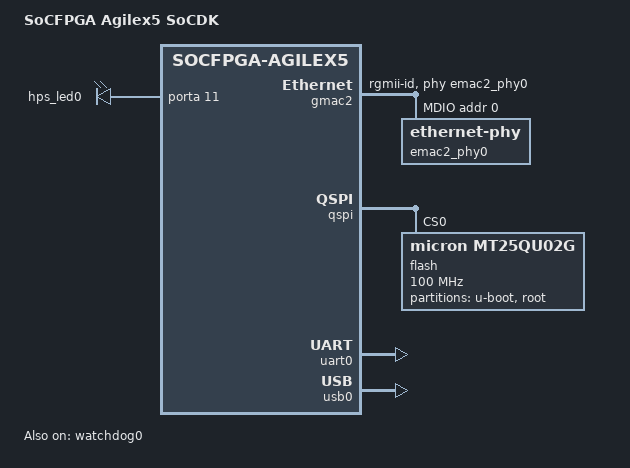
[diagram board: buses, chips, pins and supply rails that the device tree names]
// SPDX-License-Identifier: GPL-2.0-only
/*
 * Copyright (C) 2023, Intel Corporation
 */
#include "socfpga_agilex5.dtsi"

/ {
	model = "SoCFPGA Agilex5 SoCDK";
	compatible = "intel,socfpga-agilex5-socdk", "intel,socfpga-agilex5";

	aliases {
		serial0 = &uart0;
		ethernet0 = &gmac0;
		ethernet1 = &gmac1;
		ethernet2 = &gmac2;
	};

	chosen {
		stdout-path = "serial0:115200n8";
	};

	leds {
		compatible = "gpio-leds";

		led-0 {
			label = "hps_led0";
			gpios = <&porta 11 GPIO_ACTIVE_HIGH>;
		};

	};

	memory@80000000 {
		device_type = "memory";
		/* We expect the bootloader to fill in the reg */
		reg = <0x0 0x80000000 0x0 0x0>;
	};
};

&gpio0 {
	status = "okay";
};

&gmac2 {
	status = "okay";
	phy-mode = "rgmii-id";
	phy-handle = <&emac2_phy0>;
	max-frame-size = <9000>;

	mdio0 {
		#address-cells = <1>;
		#size-cells = <0>;
		compatible = "snps,dwmac-mdio";

		emac2_phy0: ethernet-phy@0 {
			reg = <0>;
		};
	};
};

&gpio1 {
	status = "okay";
};

&osc1 {
	clock-frequency = <25000000>;
};

&qspi {
	status = "okay";
	flash@0 {
		compatible = "micron,mt25qu02g", "jedec,spi-nor";
		reg = <0>;
		spi-max-frequency = <100000000>;
		m25p,fast-read;
		cdns,read-delay = <2>;
		cdns,tshsl-ns = <50>;
		cdns,tsd2d-ns = <50>;
		cdns,tchsh-ns = <4>;
		cdns,tslch-ns = <4>;

		partitions {
			compatible = "fixed-partitions";
			#address-cells = <1>;
			#size-cells = <1>;

			qspi_boot: partition@0 {
				label = "u-boot";
				reg = <0x0 0x04200000>;
			};

			root: partition@4200000 {
				label = "root";
				reg = <0x04200000 0x0be00000>;
			};
		};
	};
};

&uart0 {
	status = "okay";
};

&usb0 {
	status = "okay";
	disable-over-current;
};

&watchdog0 {
	status = "okay";
};
